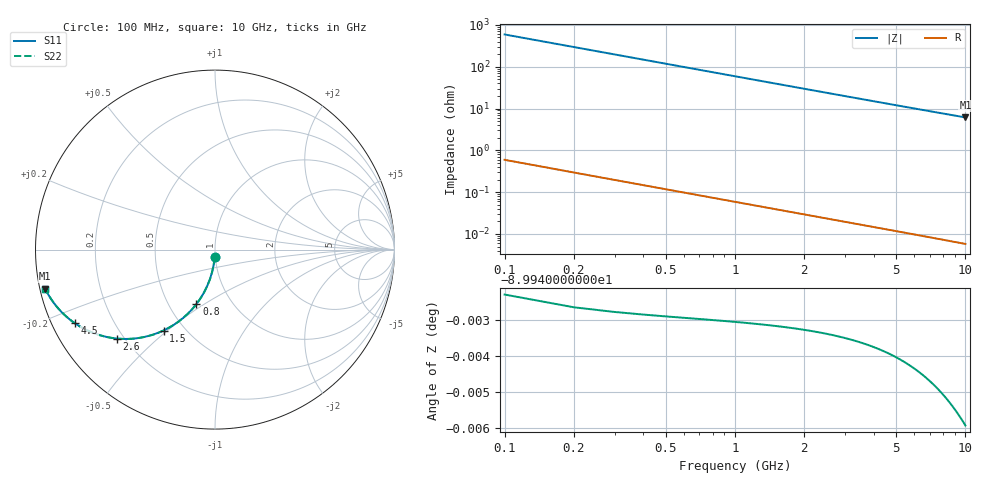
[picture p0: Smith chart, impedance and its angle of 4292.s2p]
# Hz S RI R 50.00
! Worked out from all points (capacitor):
!   100 points, 100 MHz to 10 GHz, reference 50 ohm
!   read as one part in shunt: C = 2.7 pF near 100 MHz
!   lowest |Z| = 6.13 ohm at 10 GHz (marker M1)
!   S11 on the Smith chart (normalised r, x): 100 MHz: 0.99, -0.08; 800 MHz: 0.69, -0.46; 1.5 GHz: 0.38, -0.48; 2.6 GHz: 0.17, -0.38; 4.5 GHz: 0.07, -0.25; 10 GHz: 0.01, -0.11
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1e8  -0.00183 -0.0422  0.9982 -0.0424  0.9982 -0.0424  -0.00183 -0.0422
2e8  -0.00721 -0.084  0.9928 -0.0843  0.9928 -0.0843  -0.00721 -0.084
3e8  -0.016 -0.1249  0.984 -0.1253  0.984 -0.1253  -0.016 -0.1249
4e8  -0.0281 -0.1644  0.9719 -0.165  0.9719 -0.165  -0.0281 -0.1644
5e8  -0.0431 -0.2023  0.9569 -0.203  0.9569 -0.203  -0.0431 -0.2023
6e8  -0.0609 -0.2382  0.9391 -0.239  0.9391 -0.239  -0.0609 -0.2382
8e8  -0.1031 -0.3031  0.8969 -0.3042  0.8969 -0.3042  -0.1031 -0.3031
9e8  -0.1269 -0.3318  0.873 -0.333  0.873 -0.333  -0.1269 -0.3318
1.1e9  -0.1782 -0.3815  0.8218 -0.3829  0.8218 -0.3829  -0.1782 -0.3815
1.3e9  -0.2322 -0.4209  0.7677 -0.4226  0.7677 -0.4226  -0.2322 -0.4209
1.5e9  -0.2868 -0.4508  0.7132 -0.4528  0.7132 -0.4528  -0.2868 -0.4508
1.8e9  -0.3663 -0.4801  0.6337 -0.4825  0.6337 -0.4825  -0.3663 -0.4801
2.2e9  -0.4627 -0.4966  0.5373 -0.4996  0.5373 -0.4996  -0.4627 -0.4966
2.6e9  -0.5454 -0.4957  0.4545 -0.4992  0.4545 -0.4992  -0.5454 -0.4957
3e9  -0.6145 -0.4842  0.3855 -0.4883  0.3855 -0.4883  -0.6145 -0.4842
3.4e9  -0.6714 -0.4669  0.3285 -0.4715  0.3285 -0.4715  -0.6714 -0.4669
3.9e9  -0.7285 -0.4415  0.2715 -0.4469  0.2715 -0.4469  -0.7285 -0.4415
4.5e9  -0.7809 -0.41  0.2191 -0.4162  0.2191 -0.4162  -0.7809 -0.41
5.1e9  -0.8205 -0.3797  0.1795 -0.3868  0.1795 -0.3868  -0.8205 -0.3797
6.7e9  -0.8872 -0.3111  0.1128 -0.3205  0.1128 -0.3205  -0.8872 -0.3111
8.4e9  -0.9251 -0.2567  0.0748 -0.2686  0.0748 -0.2686  -0.9251 -0.2567
1e10  -0.946 -0.2182  0.0539 -0.2325  0.0539 -0.2325  -0.946 -0.2182
